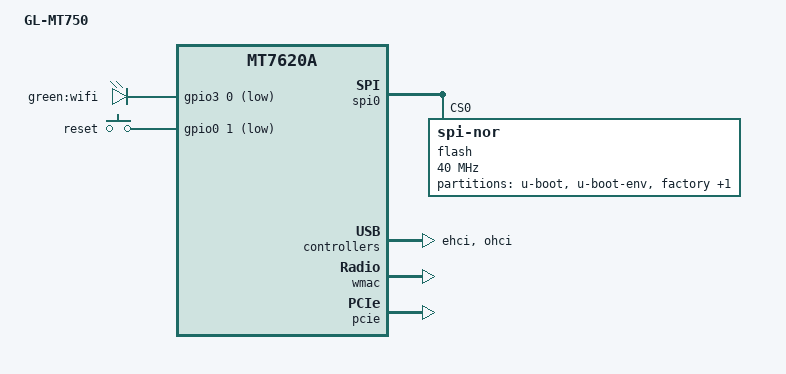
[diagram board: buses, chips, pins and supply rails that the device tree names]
#include "mt7620a.dtsi"

#include <dt-bindings/gpio/gpio.h>
#include <dt-bindings/input/input.h>

/ {
	compatible = "glinet,gl-mt750", "ralink,mt7620a-soc";
	model = "GL-MT750";

	aliases {
		label-mac-device = &wmac;
	};

	chosen {
		bootargs = "console=ttyS0,115200";
	};

	pinctrl {
		state_default: pinctrl0 {
			gpio {
				ralink,group = "wled", "jtag", "i2c";
				ralink,function = "gpio";
			};
		};
	};
	
	leds {
		compatible = "gpio-leds";

		air {
			label = "green:wifi";
			gpios = <&gpio3 0 GPIO_ACTIVE_LOW>;
			default-state = "on";
			linux,default-trigger = "phy0tx";
		};
	};

	keys {
		compatible = "gpio-keys";

		reset {
			label = "reset";
			gpios = <&gpio0 1 GPIO_ACTIVE_LOW>;
			linux,code = <KEY_RESTART>;
			debounce-interval = <60>;
		};
	};
};

&gpio0 {
	status = "okay";
};

&gpio1 {
	status = "okay";
};

&gpio2 {
	status = "okay";
};

&gpio3 {
	status = "okay";
};

&spi0 {
	status = "okay";

	flash@0 {
		compatible = "jedec,spi-nor";
		reg = <0>;
		spi-max-frequency = <40000000>;
		broken-flash-reset;
		m25p,fast-read;

		partitions {
			compatible = "fixed-partitions";
			#address-cells = <1>;
			#size-cells = <1>;

			partition@0 {
				label = "u-boot";
				reg = <0x0 0x30000>;
			};

			partition@30000 {
				label = "u-boot-env";
				reg = <0x30000 0x10000>;
				read-only;
			};

			factory: partition@40000 {
				label = "factory";
				reg = <0x40000 0x10000>;
				read-only;
			};

			partition@50000 {
				compatible = "denx,uimage";
				label = "firmware";
				reg = <0x50000 0x1fb0000>;
			};
		};
	};
};

&ehci {
	status = "okay";
};

&ohci {
	status = "okay";
};

&ethernet {
	mtd-mac-address = <&factory 0x4000>;

	mediatek,portmap = "wllll";
};

&wmac {
	ralink,mtd-eeprom = <&factory 0x0>;
};

&pcie {
	status = "okay";
};

&pcie0 {
	mt76@0,0 {
		reg = <0x0000 0 0 0 0>;
		mediatek,mtd-eeprom = <&factory 0x8000>;
	};
};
